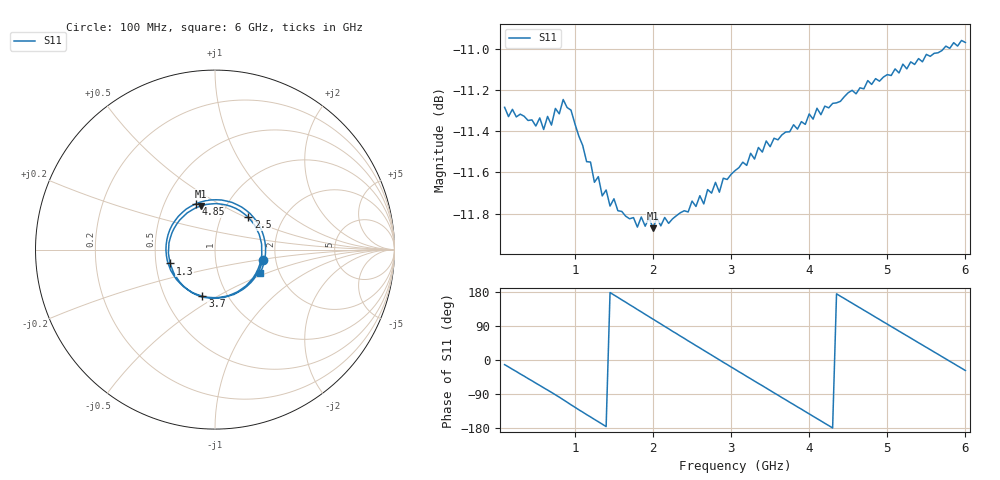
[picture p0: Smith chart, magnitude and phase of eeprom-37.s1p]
! Created with skrf 2.0.0 (http://scikit-rf.org).
# Hz S RI R 50.0
!freq ReS11 ImS11
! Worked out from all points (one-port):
!   119 points, 100 MHz to 6 GHz, reference 50 ohm
!   lowest |S11| = -11.9 dB at 2 GHz (marker M1), VSWR 1.68, Z = 38.3 + j19.9 ohm
!   |S11| at or under -10 dB: start of sweep to end of sweep
!   S11 on the Smith chart (normalised r, x): 100 MHz: 1.71, -0.21; 1.3 GHz: 0.59, -0.10; 2.5 GHz: 1.34, +0.52; 3.7 GHz: 0.77, -0.43; 4.85 GHz: 0.71, +0.39; 6 GHz: 1.59, -0.45
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1e8  0.2665 -0.0581
3e8  0.2179 -0.1623
5e8  0.1304 -0.2363
6.5e8  0.0504 -0.2667
8.5e8  -0.0696 -0.265
1.05e9  -0.1773 -0.2016
1.3e9  -0.2508 -0.0771
1.6e9  -0.2398 0.0934
2e9  -0.0778 0.2427
2.15e9  0.00618 0.2564
2.35e9  0.1159 0.2295
2.5e9  0.185 0.181
2.8e9  0.2598 0.0303
3.05e9  0.2397 -0.109
3.35e9  0.1259 -0.2351
3.55e9  0.0153 -0.2677
3.7e9  -0.07 -0.2598
3.8e9  -0.1245 -0.2397
4e9  -0.2147 -0.1667
4.2e9  -0.266 -0.0614
4.35e9  -0.2723 0.0255
4.55e9  -0.2384 0.1379
4.85e9  -0.1081 0.2552
5.1e9  0.0368 0.2763
5.3e9  0.1487 0.2371
5.65e9  0.2715 0.0734
5.85e9  0.2791 -0.0458
6e9  0.2503 -0.1317
